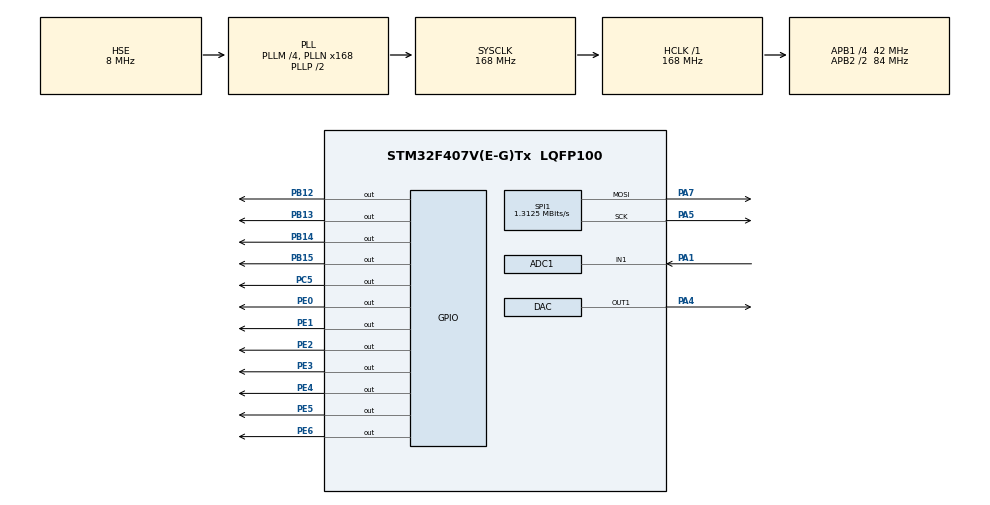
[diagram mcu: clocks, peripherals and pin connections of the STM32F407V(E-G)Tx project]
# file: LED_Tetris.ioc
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ADC1.Channel-19\#ChannelRegularConversion=ADC_CHANNEL_1
ADC1.ClockPrescaler=ADC_CLOCK_SYNC_PCLK_DIV4
ADC1.ContinuousConvMode=ENABLE
ADC1.DMAContinuousRequests=ENABLE
ADC1.DataAlign=ADC_DATAALIGN_RIGHT
ADC1.DiscontinuousConvMode=DISABLE
ADC1.EOCSelection=ADC_EOC_SINGLE_CONV
ADC1.EnableAnalogWatchDog=false
ADC1.ExternalTrigConv=ADC_SOFTWARE_START
ADC1.ExternalTrigConvEdge=ADC_EXTERNALTRIGCONVEDGE_NONE
ADC1.InjNumberOfConversion=0
ADC1.NbrOfConversion=1
ADC1.NbrOfConversionFlag=1
ADC1.Rank-19\#ChannelRegularConversion=1
ADC1.Resolution=ADC_RESOLUTION_12B
ADC1.SamplingTime-19\#ChannelRegularConversion=ADC_SAMPLETIME_3CYCLES
ADC1.ScanConvMode=DISABLE
ADC1.master=1
Dma.ADC1.0.Direction=DMA_PERIPH_TO_MEMORY
Dma.ADC1.0.FIFOMode=DMA_FIFOMODE_DISABLE
Dma.ADC1.0.Instance=DMA2_Stream0
Dma.ADC1.0.MemDataAlignment=DMA_MDATAALIGN_HALFWORD
Dma.ADC1.0.MemInc=DMA_MINC_DISABLE
Dma.ADC1.0.Mode=DMA_CIRCULAR
Dma.ADC1.0.PeriphDataAlignment=DMA_PDATAALIGN_HALFWORD
Dma.ADC1.0.PeriphInc=DMA_PINC_DISABLE
Dma.ADC1.0.Priority=DMA_PRIORITY_MEDIUM
Dma.Request0=ADC1
Mcu.Family=STM32F4
Mcu.Name=STM32F407V(E-G)Tx
Mcu.Package=LQFP100
NVIC.DMA2_Stream0_IRQn=true\:0\:0\:false\:false\:true\:false
NVIC.PriorityGroup=NVIC_PRIORITYGROUP_4
NVIC.SPI1_IRQn=true\:0\:0\:false\:false\:true\:true
NVIC.TIM2_IRQn=true\:0\:0\:false\:false\:true\:true
NVIC.TIM3_IRQn=true\:0\:0\:false\:false\:true\:true
NVIC.TIM4_IRQn=true\:0\:0\:true\:false\:true\:true
PA1.Signal=ADCx_IN1
PA4.Signal=COMP_DAC1_group
PA5.Mode=TX_Only_Simplex_Unidirect_Master
PA5.Signal=SPI1_SCK
PA7.Mode=TX_Only_Simplex_Unidirect_Master
PA7.Signal=SPI1_MOSI
PB12.Signal=GPIO_Output
PB13.Signal=GPIO_Output
PB14.Signal=GPIO_Output
PB15.Signal=GPIO_Output
PC5.Signal=GPIO_Output
PE0.Signal=GPIO_Output
PE1.Signal=GPIO_Output
PE2.Signal=GPIO_Output
PE3.Signal=GPIO_Output
PE4.Signal=GPIO_Output
PE5.Signal=GPIO_Output
PE6.Signal=GPIO_Output
PH0-OSC_IN.Mode=HSE-External-Oscillator
PH0-OSC_IN.Signal=RCC_OSC_IN
PH1-OSC_OUT.Mode=HSE-External-Oscillator
PH1-OSC_OUT.Signal=RCC_OSC_OUT
ProjectManager.HeapSize=0x200
ProjectManager.StackSize=0x400
ProjectManager.TargetToolchain=SW4STM32
RCC.48MHZClocksFreq_Value=42000000
RCC.AHBFreq_Value=168000000
RCC.APB1CLKDivider=RCC_HCLK_DIV4
RCC.APB1Freq_Value=42000000
RCC.APB1TimFreq_Value=84000000
RCC.APB2CLKDivider=RCC_HCLK_DIV2
RCC.APB2Freq_Value=84000000
RCC.APB2TimFreq_Value=168000000
RCC.CortexFreq_Value=168000000
RCC.HCLKFreq_Value=168000000
RCC.HSE_VALUE=8000000
RCC.HSI_VALUE=16000000
RCC.LSE_VALUE=32768
RCC.PLLM=4
RCC.PLLN=168
RCC.PLLQ=8
RCC.PLLSourceVirtual=RCC_PLLSOURCE_HSE
RCC.SYSCLKFreq_VALUE=168000000
RCC.SYSCLKSource=RCC_SYSCLKSOURCE_PLLCLK
RCC.VCOOutputFreq_Value=336000000
SH.ADCx_IN1.0=ADC1_IN1,IN1
SH.COMP_DAC1_group.0=DAC_OUT1,DAC_OUT1
SPI1.BaudRatePrescaler=SPI_BAUDRATEPRESCALER_64
SPI1.CalculateBaudRate=1.3125 MBits/s
SPI1.Direction=SPI_DIRECTION_2LINES
SPI1.Mode=SPI_MODE_MASTER
SPI1.VirtualType=VM_MASTER
TIM2.Period=999
TIM2.Prescaler=209
TIM3.Period=99
TIM3.Prescaler=104
TIM4.Period=9999
TIM4.Prescaler=839
VP_RNG_VS_RNG.Mode=RNG_Activate
VP_TIM2_VS_ClockSourceINT.Mode=Internal
VP_TIM3_VS_ClockSourceINT.Mode=Internal
VP_TIM4_VS_ClockSourceINT.Mode=Internal
board=custom

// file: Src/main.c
/**
  ******************************************************************************
  * @file           : main.c
  * @brief          : Main program body
  ******************************************************************************
  ** This notice applies to any and all portions of this file
  * that are not between comment pairs USER CODE BEGIN and
  * USER CODE END. Other portions of this file, whether
  * inserted by the user or by software development tools
  * are owned by their respective copyright owners.
  *
  * COPYRIGHT(c) 2019 STMicroelectronics
  *
  * Redistribution and use in source and binary forms, with or without modification,
  * are permitted provided that the following conditions are met:
  *   1. Redistributions of source code must retain the above copyright notice,
  *      this list of conditions and the following disclaimer.
  *   2. Redistributions in binary form must reproduce the above copyright notice,
  *      this list of conditions and the following disclaimer in the documentation
  *      and/or other materials provided with the distribution.
  *   3. Neither the name of STMicroelectronics nor the names of its contributors
  *      may be used to endorse or promote products derived from this software
  *      without specific prior written permission.
  *
  * THIS SOFTWARE IS PROVIDED BY THE COPYRIGHT HOLDERS AND CONTRIBUTORS "AS IS"
  * AND ANY EXPRESS OR IMPLIED WARRANTIES, INCLUDING, BUT NOT LIMITED TO, THE
  * IMPLIED WARRANTIES OF MERCHANTABILITY AND FITNESS FOR A PARTICULAR PURPOSE ARE
  * DISCLAIMED. IN NO EVENT SHALL THE COPYRIGHT HOLDER OR CONTRIBUTORS BE LIABLE
  * FOR ANY DIRECT, INDIRECT, INCIDENTAL, SPECIAL, EXEMPLARY, OR CONSEQUENTIAL
  * DAMAGES (INCLUDING, BUT NOT LIMITED TO, PROCUREMENT OF SUBSTITUTE GOODS OR
  * SERVICES; LOSS OF USE, DATA, OR PROFITS; OR BUSINESS INTERRUPTION) HOWEVER
  * CAUSED AND ON ANY THEORY OF LIABILITY, WHETHER IN CONTRACT, STRICT LIABILITY,
  * OR TORT (INCLUDING NEGLIGENCE OR OTHERWISE) ARISING IN ANY WAY OUT OF THE USE
  * OF THIS SOFTWARE, EVEN IF ADVISED OF THE POSSIBILITY OF SUCH DAMAGE.
  *
  ******************************************************************************
  */
#include "main.h"
#include "stm32f4xx_hal.h"

/* USER CODE BEGIN Includes */
#include <stdlib.h>
#include "display_lib.h"
#include <time.h>

#define false 0
#define true 1
#define MAXLEVEL 8

/* USER CODE END Includes */

ADC_HandleTypeDef hadc1;
DMA_HandleTypeDef hdma_adc1;

DAC_HandleTypeDef hdac;
RNG_HandleTypeDef hrng;

SPI_HandleTypeDef hspi1;

TIM_HandleTypeDef htim2;
TIM_HandleTypeDef htim3;
TIM_HandleTypeDef htim4;

/* USER CODE BEGIN PV */
/* Private variables ---------------------------------------------------------*/

// ADC1 --> buttons for sterring
// DAC  --> music through the speaker
// SPI1 --> LED matrix
// TIM2 --> 7-segment display [400 Hz]
// TIM3 --> play music [8000 Hz]
// TIM4 --> frequency of game [10Hz]

volatile uint8_t STEPDOWNMAX = 8;
volatile _Bool mainTable[18][10] = { false }; //18 rows, 10 columns

// ---------------------< GAME VARIABLES >-----------------------
volatile _Bool gameOn = false; // is game paused or not
volatile _Bool isFinished = false; //if game is finished
_Bool state = false; //state of pressed button

volatile uint16_t gameScore = 0; //score of game
volatile uint8_t gameLevel = 1; //game level (score multiplier) & shapes go down faster
volatile uint16_t levelTable[] = {0,100,250,500,1000,2150,3500,5000,9999,65530};

volatile uint16_t ADCvalue; //value of pressed button
uint8_t scoreDisplayNum = 1; //num of 7-segment display (1,2,3 or 4)

// --------------------< SHAPE PROPERTIES >----------------------
volatile uint8_t currX = 1; //current position of the piece
volatile uint8_t currY = 5;
volatile uint8_t currShape = 0; //num of current shape (numbers shown below)
volatile uint8_t currShapePhase = 0; // which rotation phase

uint8_t stepDownVar; // variable used for going down with shape
volatile uint8_t stepDownVarMax = 8; //value used for steering timer of stepdown function

// ---------------------------< MUSIC >--------------------------
extern const uint8_t rawData[669362]; //music data
int32_t musicIndex = 0; //music data index

// -------------------< SHAPES (shapes.c) >----------------------
extern _Bool shapeT[4][4][4];
extern _Bool shapeO[4][4][4];
extern _Bool shapeI[4][4][4];
extern _Bool shapeL[4][4][4];
extern _Bool shapeJ[4][4][4];
extern _Bool shapeS[4][4][4];
extern _Bool shapeZ[4][4][4];

/* USER CODE END PV */

void SystemClock_Config(void);
static void MX_GPIO_Init(void);
static void MX_DMA_Init(void);
static void MX_TIM4_Init(void);
static void MX_TIM3_Init(void);
static void MX_DAC_Init(void);
static void MX_SPI1_Init(void);
static void MX_ADC1_Init(void);
static void MX_TIM2_Init(void);
static void MX_RNG_Init(void);

/* USER CODE BEGIN PFP */
/* Private function prototypes -----------------------------------------------*/

/* USER CODE END PFP */

/* USER CODE BEGIN 0 */

// -----------------< DECLARATION OF FUNCTIONS >-------------------
void rotate();
void goLeft(); //Shift left
void goRight(); //Shift right
void goDown(); //Push shape down fast
void playPause(); //play/pause
void stepDown(); //Shape down one step
void finish();
void writeLedMatrix();
_Bool fullRow(uint8_t row);
_Bool emptyRow(uint8_t row);
void removeShape(_Bool shape[4][4][4], int8_t row, int8_t col, uint8_t position);
void putShape(_Bool shape[4][4][4], int8_t row, int8_t col, uint8_t position);
void placeNew();

// --------------< TIMERS, SPI, DAC, ADC functions >---------------
void HAL_TIM_PeriodElapsedCallback(TIM_HandleTypeDef *htim) {

	if(htim->Instance == TIM2)
    {
		DISP_VAL_NULL;
		switch(scoreDisplayNum)
		{
		case 1:
		{
			displayValue(1,(gameScore/1000));
		}break;
		case 2:
		{
			displayValue(2,(gameScore/100)%10);
		}break;
		case 3:
		{
			displayValue(3,(gameScore/10)%10);
		}break;
		case 4:
		{
			displayValue(4,gameScore%10);
			scoreDisplayNum = 0;
		};break;
	  };
		++scoreDisplayNum;
	}
	if(htim->Instance == TIM3)
	{
		if(gameOn == true)
		{
			HAL_DAC_SetValue(&hdac,DAC_CHANNEL_1,DAC_ALIGN_12B_R,rawData[musicIndex]);
			musicIndex++;
			if(musicIndex >= 669361) musicIndex = 0;
		}
	}
	if(htim->Instance == TIM4)
	{
		if(gameOn == true)
		{
			writeLedMatrix();
			++stepDownVar;
			if(stepDownVar >= stepDownVarMax) //new value 8 !!
			{
				stepDown();
				stepDownVar = 0;
			}
		}
	}
}

void writeLedByte(uint8_t addr1, uint8_t data1, uint8_t addr2, uint8_t data2)
{
	uint8_t data[] = {addr1,data1,addr2,data2};
	HAL_GPIO_WritePin(GPIOC,GPIO_PIN_5,GPIO_PIN_RESET);
	HAL_SPI_Transmit(&hspi1,(uint8_t*)data,4,HAL_MAX_DELAY);
	HAL_GPIO_WritePin(GPIOC,GPIO_PIN_5,GPIO_PIN_SET);
}

// ----------------------< GAME FUNCTIONS >------------------------
void clearTable()
{
	for(int i=0; i<17; i++)
	{
		for(int j=1;j<9;j++) mainTable[i][j] = false;
	}
}

void initMainTable()
{
	for(int i=0; i<18; i++)
	{
		mainTable[i][0] = true;
		mainTable[i][9] = true;
	}
	for(int j=1;j<10;j++) mainTable[17][j] = true;
}

uint8_t valueOfColumn(uint8_t col, uint8_t shift) //shift: 8 or 0 (screen 1 or 2)
{
	uint8_t suma = 0x00;
	int tmp = 0x01;
	for(int i=8;i>0;i--)
	{
		if(mainTable[i+shift][col] == true) suma += tmp;
		tmp = tmp << 1;
	}
	return suma;
}

void initLED()
{
	writeLedByte(0x09,0x00,0x09,0x00); // no Decode-Mode
	writeLedByte(0x0a,0x00,0x0a,0x00); // Intensity of light: here 1/4
	writeLedByte(0x0b,0x07,0x0b,0x07); // Scan-Limit: all digits
	writeLedByte(0x0c,0x01,0x0c,0x01); // Shutdown: Normal Operation
	writeLedByte(0x0f,0x00,0x0f,0x00); // Display text: nothing
}

_Bool ANDMatrix(_Bool shape[4][4][4], int8_t row, int8_t col,uint8_t position) //return if can change position or rotate shape
{
	for(int8_t i = row;i < row + 4; i++)
	{
		for(int8_t j = col; j < col + 4;j++)
		{
			if(i < 0 || i > 17) continue;
			if(j < 0 || j > 9) continue;
			if(mainTable[i][j] == 1 && shape[position][i-row][j-col] == 1) return true;
		}
	}
	return false;
}

void writeLedMatrix()
{
	for(int i=1;i<9;i++) writeLedByte(9-i,valueOfColumn(i,8),9-i,valueOfColumn(i,0));
}

// ---------------------< STEERING BUTTONS >------------------------
//rotate shape
void rotate()
{
	if(gameOn == false) return;
	_Bool*** tmpShape;
	switch(currShape)
	{
		case 0:tmpShape = shapeT;break;
		case 1:tmpShape = shapeO;break;
		case 2:tmpShape = shapeI;break;
		case 3:tmpShape = shapeL;break;
		case 4:tmpShape = shapeJ;break;
		case 5:tmpShape = shapeS;break;
		case 6:tmpShape = shapeZ;break;
	}
	removeShape(tmpShape,currX,currY,currShapePhase);
	if(ANDMatrix(tmpShape,currX,currY,(currShapePhase + 1) % 4) == false)
	{
		currShapePhase = (currShapePhase + 1) % 4;
		putShape(tmpShape,currX,currY,currShapePhase);
	}
	else putShape(tmpShape,currX,currY,currShapePhase);
}

//shift left
void goLeft()
{
	if(gameOn == false) return;
	_Bool*** tmpShape;
	switch(currShape)
	{
		case 0:tmpShape = shapeT;break;
		case 1:tmpShape = shapeO;break;
		case 2:tmpShape = shapeI;break;
		case 3:tmpShape = shapeL;break;
		case 4:tmpShape = shapeJ;break;
		case 5:tmpShape = shapeS;break;
		case 6:tmpShape = shapeZ;break;
	}
	removeShape(tmpShape,currX,currY,currShapePhase);
	if(ANDMatrix(tmpShape,currX,currY-1,currShapePhase) == false) putShape(tmpShape,currX,--currY,currShapePhase);
	else putShape(tmpShape,currX,currY,currShapePhase);
}

//shitf right
void goRight()
{
	if(gameOn == false) return;
	_Bool*** tmpShape;
	switch(currShape)
	{
		case 0:tmpShape = shapeT;break;
		case 1:tmpShape = shapeO;break;
		case 2:tmpShape = shapeI;break;
		case 3:tmpShape = shapeL;break;
		case 4:tmpShape = shapeJ;break;
		case 5:tmpShape = shapeS;break;
		case 6:tmpShape = shapeZ;break;
	}
	removeShape(tmpShape,currX,currY,currShapePhase);
	if(ANDMatrix(tmpShape,currX,currY+1,currShapePhase) == false) putShape(tmpShape,currX,++currY,currShapePhase);
	else putShape(tmpShape,currX,currY,currShapePhase);
}

//go down faster (only one shape, next in normal speed)
void goDown()
{
	if(gameOn == false) return;
	stepDownVarMax = 2;
}

//play/pause
void playPause() { gameOn ^= 1; }

// ---------------------------< OTHER >-----------------------------

void removeShape(_Bool shape[4][4][4], int8_t row, int8_t col, uint8_t position)
{
	for(int8_t i = row;i < row + 4;i++)
		{
			for(int8_t j = col; j < col + 4; j++)
			{
				if (j < 9 && i < 17 && j >= 0)
				{
					 if(shape[position][i - row][j - col] == true) mainTable[i][j] = false;
				}
			}
		}
}

void putShape(_Bool shape[4][4][4], int8_t row, int8_t col, uint8_t position) // row and col means left top corner
{
	for(int8_t i = row;i < row + 4;i++)
	{
		for(int8_t j = col; j < col + 4; j++)
		{
			if (j < 9 && i < 17 && j >= 0)
			{
				 if(shape[position][i - row][j - col] == true) mainTable[i][j] = true;
			}
		}
	}
}

void placeNew()
{
	uint32_t num = 0;
	uint8_t shapeNr = 0;
	HAL_RNG_GenerateRandomNumber(&hrng,&num);
	shapeNr = (uint8_t) num % 7;
	currX = 1;
	currY = 3;
	currShape = shapeNr;
	currShapePhase = 0;
	switch(shapeNr)
	{
	case 0:
		{
			if(ANDMatrix(shapeT,currX,currY,currShapePhase) == false) putShape(shapeT,currX,currY,currShapePhase);
			else finish();
		}break;
	case 1:
		{
			if(ANDMatrix(shapeO,--currX,currY,currShapePhase) == false) putShape(shapeO,currX,currY,currShapePhase);
			else finish();
		}break;
	case 2:
		{
			if(ANDMatrix(shapeI,--currX,currY,currShapePhase) == false) putShape(shapeI,currX,currY,currShapePhase);
			else finish();
		}break;
	case 3:
		{
			if(ANDMatrix(shapeL,--currX,currY,currShapePhase) == false) putShape(shapeL,currX,currY,currShapePhase);
			else finish();
		}break;
	case 4:
		{
			if(ANDMatrix(shapeJ,--currX,currY,currShapePhase) == false) putShape(shapeJ,currX,currY,currShapePhase);
			else finish();
		}break;
	case 5:
		{
			if(ANDMatrix(shapeS,--currX,currY,currShapePhase) == false) putShape(shapeS,currX,currY,currShapePhase);
			else finish();
		}break;
	case 6:
		{
			if(ANDMatrix(shapeZ,--currX,currY,currShapePhase) == false) putShape(shapeZ,currX,currY,currShapePhase);
			else finish();
		}break;
	}
	//'curr-1' is in some shapes cause shape is starting not from first row
}

void stepDown()
{
	_Bool*** tmpShape;
		switch(currShape)
		{
		case 0:tmpShape = shapeT;break;
		case 1:tmpShape = shapeO;break;
		case 2:tmpShape = shapeI;break;
		case 3:tmpShape = shapeL;break;
		case 4:tmpShape = shapeJ;break;
		case 5:tmpShape = shapeS;break;
		case 6:tmpShape = shapeZ;break;
		}
		removeShape(tmpShape,currX,currY,currShapePhase);
		if(ANDMatrix(tmpShape,currX+1,currY,currShapePhase) == false) putShape(tmpShape,++currX,currY,currShapePhase);
		else
		{
			putShape(tmpShape,currX,currY,currShapePhase);
			uint8_t countLines = 0;
			uint8_t newPoints = 0;
			for(uint8_t i = currX; i < currX + 4; i++)
			{
				if(fullRow(i)==true && i < 17)
				{
					deleteRow(i);
					countLines++;
					pushDownTable(i);
				}
			}
			switch(countLines)
			{
				case 4: newPoints += 5;
				case 3: newPoints += 4;
				case 2: newPoints += 3;
				case 1: newPoints += 2;
				case 0: break;
			}
			newPoints *= gameLevel;
			if(stepDownVarMax < STEPDOWNMAX) newPoints++;
			if(emptyRow(16) == true) newPoints += 70;
			gameScore = gameScore + newPoints;
			if(gameScore >= levelTable[gameLevel])
				{
					gameLevel++;
					if(gameLevel % 2 == 0) STEPDOWNMAX--;
				}
			stepDownVarMax = STEPDOWNMAX;
			placeNew();
		}
}

void pushDownTable(uint8_t row)
{
	for(uint8_t i=row-1;i>1;i--)
	{
		for(uint8_t k=0;k<9;k++) mainTable[i+1][k] = mainTable[i][k];
	}
	for(int i=0;i<9;i++) mainTable[0][i] = false;
}

_Bool fullRow(uint8_t row)
{
	for(uint8_t i = 1; i<9; i++)
	{
		if(mainTable[row][i] == 0) return false;
	}
	return true;
}

_Bool emptyRow(uint8_t row)
{
	for(uint8_t i = 1; i<9; i++)
	{
		if(mainTable[row][i] == 1) return false;
	}
	return true;
}

void deleteRow(uint8_t row)
{
	for(uint8_t i=1;i<9;i++) mainTable[row][i] = false;
}

void writePlay()
{
	writeLedByte(0x01,0x00,0x01,0x16); // Line 1
	writeLedByte(0x02,0x82,0x02,0x13); // Line 2
	writeLedByte(0x03,0x03,0x03,0xf6); // Line 3
	writeLedByte(0x04,0x11,0x04,0x00); // Line 4
	writeLedByte(0x05,0x38,0x05,0x00); // Line 5
	writeLedByte(0x06,0x83,0x06,0x43); // Line 6
	writeLedByte(0x07,0x01,0x07,0xa5); // Line 7
	writeLedByte(0x08,0x81,0x08,0xf3); // Line 8
}

void writeGG()
{
	writeLedByte(0x01,0x00,0x01,0x00); // Line 1
	writeLedByte(0x02,0x08,0x02,0x08); // Line 2
	writeLedByte(0x03,0x4c,0x03,0x4c); // Line 3
	writeLedByte(0x04,0x4a,0x04,0x4a); // Line 4
	writeLedByte(0x05,0x42,0x05,0x42); // Line 5
	writeLedByte(0x06,0x42,0x06,0x42); // Line 6
	writeLedByte(0x07,0x3c,0x07,0x3c); // Line 7
	writeLedByte(0x08,0x00,0x08,0x00); // Line 8
}

void EaStErEgG(void(*f)(void)){}

void finish()
{
	gameOn = false;
	isFinished = true;
	writeGG();
}

void newGame()
{
	isFinished = false;
	clearTable();
	gameScore = 0;
	gameLevel = 1;
	STEPDOWNMAX = 8;
	musicIndex = 0;
	gameOn = true;
	placeNew();
}

//Must be in while loop
void buttonPressedAction()
{
	if (ADCvalue < 3900)
	{
		HAL_Delay(1);
		if (ADCvalue < 1500 && ADCvalue > 1300)
		{
			if (state == false)
			{
				if(isFinished==false) playPause();
				else newGame();
				state = true;
			}
		}
		else if (ADCvalue < 750 && ADCvalue >= 600)
		{
			if (state == false)
			{
				goRight();
				state = true;
			}
		}
		else if (ADCvalue < 400 && ADCvalue >300)
		{
			if (state == false)
			{
				goDown();
				state = true;
			}
		}
		else if (ADCvalue < 200 && ADCvalue > 100)
		{
			if (state == false)
			{
				rotate();
				state = true;
			}
		}
		else if (ADCvalue < 50)
		{
			if (state == false)
			{
				goLeft();
				state = true;
			}
		}
	}
	else
	{
		if (state == true) state = false;
		HAL_Delay(1);
	}
}

/* USER CODE END 0 */

int main(void)
{

  /* MCU Configuration----------------------------------------------------------*/

  /* Reset of all peripherals, Initializes the Flash interface and the Systick. */
  HAL_Init();

  /* Configure the system clock */
  SystemClock_Config();

  /* Initialize all configured peripherals */
  MX_GPIO_Init();
  MX_DMA_Init();
  MX_TIM4_Init();
  MX_TIM3_Init();
  MX_DAC_Init();
  MX_SPI1_Init();
  MX_ADC1_Init();
  MX_TIM2_Init();
  MX_RNG_Init();
  /* USER CODE BEGIN 2 */

  HAL_TIM_Base_Start_IT(&htim2); //scoreboard
  HAL_TIM_Base_Start_IT(&htim3); //music
  HAL_TIM_Base_Start_IT(&htim4); //game play

  HAL_DAC_Start(&hdac,DAC_CHANNEL_1);
  HAL_ADC_Start_DMA(&hadc1, &ADCvalue, 1);

  initLED();
  initMainTable();
  writePlay();
  placeNew();
  /* USER CODE END 2 */

  /* Infinite loop */
  while (1)
  {

  /* USER CODE BEGIN 3 */
	  buttonPressedAction();
  }
  /* USER CODE END 3 */

}

void SystemClock_Config(void)
{

  RCC_OscInitTypeDef RCC_OscInitStruct;
  RCC_ClkInitTypeDef RCC_ClkInitStruct;

    /**Configure the main internal regulator output voltage
    */
  __HAL_RCC_PWR_CLK_ENABLE();

  __HAL_PWR_VOLTAGESCALING_CONFIG(PWR_REGULATOR_VOLTAGE_SCALE1);

    /**Initializes the CPU, AHB and APB busses clocks
    */
  RCC_OscInitStruct.OscillatorType = RCC_OSCILLATORTYPE_HSE;
  RCC_OscInitStruct.HSEState = RCC_HSE_ON;
  RCC_OscInitStruct.PLL.PLLState = RCC_PLL_ON;
  RCC_OscInitStruct.PLL.PLLSource = RCC_PLLSOURCE_HSE;
  RCC_OscInitStruct.PLL.PLLM = 4;
  RCC_OscInitStruct.PLL.PLLN = 168;
  RCC_OscInitStruct.PLL.PLLP = RCC_PLLP_DIV2;
  RCC_OscInitStruct.PLL.PLLQ = 8;
  if (HAL_RCC_OscConfig(&RCC_OscInitStruct) != HAL_OK)
  {
    _Error_Handler(__FILE__, __LINE__);
  }

    /**Initializes the CPU, AHB and APB busses clocks
    */
  RCC_ClkInitStruct.ClockType = RCC_CLOCKTYPE_HCLK|RCC_CLOCKTYPE_SYSCLK
                              |RCC_CLOCKTYPE_PCLK1|RCC_CLOCKTYPE_PCLK2;
  RCC_ClkInitStruct.SYSCLKSource = RCC_SYSCLKSOURCE_PLLCLK;
  RCC_ClkInitStruct.AHBCLKDivider = RCC_SYSCLK_DIV1;
  RCC_ClkInitStruct.APB1CLKDivider = RCC_HCLK_DIV4;
  RCC_ClkInitStruct.APB2CLKDivider = RCC_HCLK_DIV2;

  if (HAL_RCC_ClockConfig(&RCC_ClkInitStruct, FLASH_LATENCY_5) != HAL_OK)
  {
    _Error_Handler(__FILE__, __LINE__);
  }

    /**Configure the Systick interrupt time
    */
  HAL_SYSTICK_Config(HAL_RCC_GetHCLKFreq()/1000);

    /**Configure the Systick
    */
  HAL_SYSTICK_CLKSourceConfig(SYSTICK_CLKSOURCE_HCLK);

  /* SysTick_IRQn interrupt configuration */
  HAL_NVIC_SetPriority(SysTick_IRQn, 0, 0);
}

/* ADC1 init function */
static void MX_ADC1_Init(void)
{

  ADC_ChannelConfTypeDef sConfig;

    /**Configure the global features of the ADC (Clock, Resolution, Data Alignment and number of conversion)
    */
  hadc1.Instance = ADC1;
  hadc1.Init.ClockPrescaler = ADC_CLOCK_SYNC_PCLK_DIV4;
  hadc1.Init.Resolution = ADC_RESOLUTION_12B;
  hadc1.Init.ScanConvMode = DISABLE;
  hadc1.Init.ContinuousConvMode = ENABLE;
  hadc1.Init.DiscontinuousConvMode = DISABLE;
  hadc1.Init.ExternalTrigConvEdge = ADC_EXTERNALTRIGCONVEDGE_NONE;
  hadc1.Init.ExternalTrigConv = ADC_SOFTWARE_START;
  hadc1.Init.DataAlign = ADC_DATAALIGN_RIGHT;
  hadc1.Init.NbrOfConversion = 1;
  hadc1.Init.DMAContinuousRequests = ENABLE;
  hadc1.Init.EOCSelection = ADC_EOC_SINGLE_CONV;
  if (HAL_ADC_Init(&hadc1) != HAL_OK)
  {
    _Error_Handler(__FILE__, __LINE__);
  }

    /**Configure for the selected ADC regular channel its corresponding rank in the sequencer and its sample time.
    */
  sConfig.Channel = ADC_CHANNEL_1;
  sConfig.Rank = 1;
  sConfig.SamplingTime = ADC_SAMPLETIME_3CYCLES;
  if (HAL_ADC_ConfigChannel(&hadc1, &sConfig) != HAL_OK)
  {
    _Error_Handler(__FILE__, __LINE__);
  }

}

/* DAC init function */
static void MX_DAC_Init(void)
{

  DAC_ChannelConfTypeDef sConfig;

    /**DAC Initialization
    */
  hdac.Instance = DAC;
  if (HAL_DAC_Init(&hdac) != HAL_OK)
  {
    _Error_Handler(__FILE__, __LINE__);
  }

    /**DAC channel OUT1 config
    */
  sConfig.DAC_Trigger = DAC_TRIGGER_NONE;
  sConfig.DAC_OutputBuffer = DAC_OUTPUTBUFFER_ENABLE;
  if (HAL_DAC_ConfigChannel(&hdac, &sConfig, DAC_CHANNEL_1) != HAL_OK)
  {
    _Error_Handler(__FILE__, __LINE__);
  }

}

/* RNG init function */
static void MX_RNG_Init(void)
{

  hrng.Instance = RNG;
  if (HAL_RNG_Init(&hrng) != HAL_OK)
  {
    _Error_Handler(__FILE__, __LINE__);
  }

}

/* SPI1 init function */
static void MX_SPI1_Init(void)
{

  /* SPI1 parameter configuration*/
  hspi1.Instance = SPI1;
  hspi1.Init.Mode = SPI_MODE_MASTER;
  hspi1.Init.Direction = SPI_DIRECTION_2LINES;
  hspi1.Init.DataSize = SPI_DATASIZE_8BIT;
  hspi1.Init.CLKPolarity = SPI_POLARITY_LOW;
  hspi1.Init.CLKPhase = SPI_PHASE_1EDGE;
  hspi1.Init.NSS = SPI_NSS_SOFT;
  hspi1.Init.BaudRatePrescaler = SPI_BAUDRATEPRESCALER_64;
  hspi1.Init.FirstBit = SPI_FIRSTBIT_MSB;
  hspi1.Init.TIMode = SPI_TIMODE_DISABLE;
  hspi1.Init.CRCCalculation = SPI_CRCCALCULATION_DISABLE;
  hspi1.Init.CRCPolynomial = 10;
  if (HAL_SPI_Init(&hspi1) != HAL_OK)
  {
    _Error_Handler(__FILE__, __LINE__);
  }

}

/* TIM2 init function */
static void MX_TIM2_Init(void)
{

  TIM_ClockConfigTypeDef sClockSourceConfig;
  TIM_MasterConfigTypeDef sMasterConfig;

  htim2.Instance = TIM2;
  htim2.Init.Prescaler = 209;
  htim2.Init.CounterMode = TIM_COUNTERMODE_UP;
  htim2.Init.Period = 999;
  htim2.Init.ClockDivision = TIM_CLOCKDIVISION_DIV1;
  if (HAL_TIM_Base_Init(&htim2) != HAL_OK)
  {
    _Error_Handler(__FILE__, __LINE__);
  }

  sClockSourceConfig.ClockSource = TIM_CLOCKSOURCE_INTERNAL;
  if (HAL_TIM_ConfigClockSource(&htim2, &sClockSourceConfig) != HAL_OK)
  {
    _Error_Handler(__FILE__, __LINE__);
  }

  sMasterConfig.MasterOutputTrigger = TIM_TRGO_RESET;
  sMasterConfig.MasterSlaveMode = TIM_MASTERSLAVEMODE_DISABLE;
  if (HAL_TIMEx_MasterConfigSynchronization(&htim2, &sMasterConfig) != HAL_OK)
  {
    _Error_Handler(__FILE__, __LINE__);
  }

}

/* TIM3 init function */
static void MX_TIM3_Init(void)
{

  TIM_ClockConfigTypeDef sClockSourceConfig;
  TIM_MasterConfigTypeDef sMasterConfig;

  htim3.Instance = TIM3;
  htim3.Init.Prescaler = 104;
  htim3.Init.CounterMode = TIM_COUNTERMODE_UP;
  htim3.Init.Period = 99;
  htim3.Init.ClockDivision = TIM_CLOCKDIVISION_DIV1;
  if (HAL_TIM_Base_Init(&htim3) != HAL_OK)
  {
    _Error_Handler(__FILE__, __LINE__);
  }

  sClockSourceConfig.ClockSource = TIM_CLOCKSOURCE_INTERNAL;
  if (HAL_TIM_ConfigClockSource(&htim3, &sClockSourceConfig) != HAL_OK)
  {
    _Error_Handler(__FILE__, __LINE__);
  }

  sMasterConfig.MasterOutputTrigger = TIM_TRGO_RESET;
  sMasterConfig.MasterSlaveMode = TIM_MASTERSLAVEMODE_DISABLE;
  if (HAL_TIMEx_MasterConfigSynchronization(&htim3, &sMasterConfig) != HAL_OK)
  {
    _Error_Handler(__FILE__, __LINE__);
  }

}

/* TIM4 init function */
static void MX_TIM4_Init(void)
{

  TIM_ClockConfigTypeDef sClockSourceConfig;
  TIM_MasterConfigTypeDef sMasterConfig;

  htim4.Instance = TIM4;
  htim4.Init.Prescaler = 839;
  htim4.Init.CounterMode = TIM_COUNTERMODE_UP;
  htim4.Init.Period = 9999;
  htim4.Init.ClockDivision = TIM_CLOCKDIVISION_DIV1;
  if (HAL_TIM_Base_Init(&htim4) != HAL_OK)
  {
    _Error_Handler(__FILE__, __LINE__);
  }

  sClockSourceConfig.ClockSource = TIM_CLOCKSOURCE_INTERNAL;
  if (HAL_TIM_ConfigClockSource(&htim4, &sClockSourceConfig) != HAL_OK)
  {
    _Error_Handler(__FILE__, __LINE__);
  }

  sMasterConfig.MasterOutputTrigger = TIM_TRGO_RESET;
  sMasterConfig.MasterSlaveMode = TIM_MASTERSLAVEMODE_DISABLE;
  if (HAL_TIMEx_MasterConfigSynchronization(&htim4, &sMasterConfig) != HAL_OK)
  {
    _Error_Handler(__FILE__, __LINE__);
  }

}

static void MX_DMA_Init(void)
{
  /* DMA controller clock enable */
  __HAL_RCC_DMA2_CLK_ENABLE();

  /* DMA interrupt init */
  /* DMA2_Stream0_IRQn interrupt configuration */
  HAL_NVIC_SetPriority(DMA2_Stream0_IRQn, 0, 0);
  HAL_NVIC_EnableIRQ(DMA2_Stream0_IRQn);

}

/** Configure pins as
        * Analog
        * Input
        * Output
        * EVENT_OUT
        * EXTI
*/
static void MX_GPIO_Init(void)
{

  GPIO_InitTypeDef GPIO_InitStruct;

  /* GPIO Ports Clock Enable */
  __HAL_RCC_GPIOE_CLK_ENABLE();
  __HAL_RCC_GPIOH_CLK_ENABLE();
  __HAL_RCC_GPIOA_CLK_ENABLE();
  __HAL_RCC_GPIOC_CLK_ENABLE();
  __HAL_RCC_GPIOB_CLK_ENABLE();

  /*Configure GPIO pin Output Level */
  HAL_GPIO_WritePin(GPIOE, GPIO_PIN_2|GPIO_PIN_3|GPIO_PIN_4|GPIO_PIN_5
                          |GPIO_PIN_6|GPIO_PIN_0|GPIO_PIN_1, GPIO_PIN_RESET);

  /*Configure GPIO pin Output Level */
  HAL_GPIO_WritePin(GPIOC, GPIO_PIN_5, GPIO_PIN_RESET);

  /*Configure GPIO pin Output Level */
  HAL_GPIO_WritePin(GPIOB, GPIO_PIN_12|GPIO_PIN_13|GPIO_PIN_14|GPIO_PIN_15, GPIO_PIN_RESET);

  /*Configure GPIO pins : PE2 PE3 PE4 PE5
                           PE6 PE0 PE1 */
  GPIO_InitStruct.Pin = GPIO_PIN_2|GPIO_PIN_3|GPIO_PIN_4|GPIO_PIN_5
                          |GPIO_PIN_6|GPIO_PIN_0|GPIO_PIN_1;
  GPIO_InitStruct.Mode = GPIO_MODE_OUTPUT_PP;
  GPIO_InitStruct.Pull = GPIO_NOPULL;
  GPIO_InitStruct.Speed = GPIO_SPEED_FREQ_LOW;
  HAL_GPIO_Init(GPIOE, &GPIO_InitStruct);

  /*Configure GPIO pin : PC5 */
  GPIO_InitStruct.Pin = GPIO_PIN_5;
  GPIO_InitStruct.Mode = GPIO_MODE_OUTPUT_PP;
  GPIO_InitStruct.Pull = GPIO_NOPULL;
  GPIO_InitStruct.Speed = GPIO_SPEED_FREQ_LOW;
  HAL_GPIO_Init(GPIOC, &GPIO_InitStruct);

  /*Configure GPIO pins : PB12 PB13 PB14 PB15 */
  GPIO_InitStruct.Pin = GPIO_PIN_12|GPIO_PIN_13|GPIO_PIN_14|GPIO_PIN_15;
  GPIO_InitStruct.Mode = GPIO_MODE_OUTPUT_PP;
  GPIO_InitStruct.Pull = GPIO_NOPULL;
  GPIO_InitStruct.Speed = GPIO_SPEED_FREQ_LOW;
  HAL_GPIO_Init(GPIOB, &GPIO_InitStruct);

}

void _Error_Handler(char *file, int line)
{
  while(1)
  {
  }
}

/************************ (C) COPYRIGHT STMicroelectronics *****END OF FILE****/
